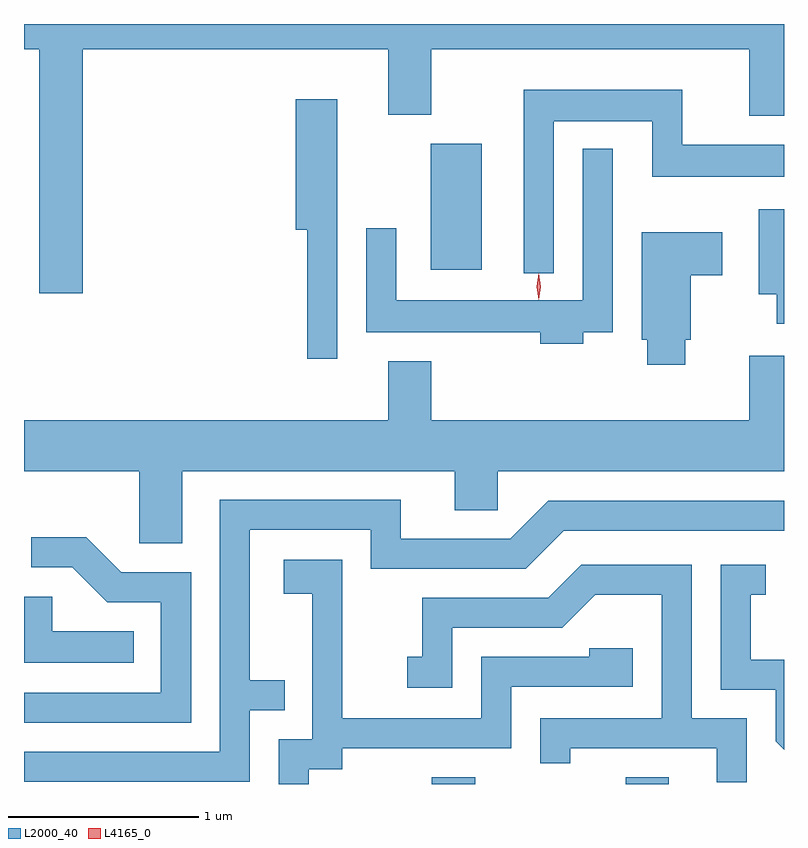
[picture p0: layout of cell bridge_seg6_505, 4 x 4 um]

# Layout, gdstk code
import gdstk
lib = gdstk.Library(unit=1e-6, precision=1e-09)
def R(c, l, rs):  # rectangles x0, y0, x1, y1
    for r in rs: c.add(gdstk.rectangle(r[:2], r[2:], *l))
def P(c, l, *ps):  # polygons
    for p in ps: c.add(gdstk.Polygon(p, *l))
L2000_40 = (2000, 40)
L4165_0 = (4165, 0)

bridge_seg6_505 = lib.new_cell('bridge_seg6_505')
R(bridge_seg6_505, L2000_40, [(529.401,1648.289,529.629,1648.324), (530.421,1648.289,530.649,1648.324), (529.396,1650.996,529.664,1651.659)])
P(bridge_seg6_505, L2000_40, [(527.564,1652.156),(529.171,1652.156),(529.171,1651.811),(529.399,1651.811),(529.399,1652.156),(531.071,1652.156),(531.071,1651.806),(531.255,1651.806),(531.255,1652.289),(527.255,1652.289),(527.255,1652.156),(527.336,1652.156),(527.336,1650.871),(527.564,1650.871)],
  [(530.044,1651.776),(530.561,1651.776),(530.561,1651.486),(531.255,1651.486),(531.255,1651.654),(530.719,1651.654),(530.719,1651.944),(529.886,1651.944),(529.886,1650.978),(530.044,1650.978)],
  [(528.904,1651.894),(528.686,1651.894),(528.686,1651.206),(528.746,1651.206),(528.746,1650.528),(528.904,1650.528)],
  [(530.199,1650.666),(530.354,1650.666),(530.354,1651.633),(530.196,1651.633),(530.196,1650.834),(529.214,1650.834),(529.214,1651.213),(529.056,1651.213),(529.056,1650.666),(529.971,1650.666),(529.971,1650.606),(530.199,1650.606)],
  [(531.255,1651.314),(531.121,1651.314),(531.121,1650.866),(531.216,1650.866),(531.216,1650.711),(531.255,1650.711)],
  [(530.734,1650.626),(530.764,1650.626),(530.764,1650.966),(530.929,1650.966),(530.929,1651.194),(530.506,1651.194),(530.506,1650.626),(530.536,1650.626),(530.536,1650.496),(530.734,1650.496)],
  [(528.089,1649.936),(529.521,1649.936),(529.521,1649.731),(529.749,1649.731),(529.749,1649.936),(531.255,1649.936),(531.255,1650.544),(531.071,1650.544),(531.071,1650.204),(529.399,1650.204),(529.399,1650.514),(529.171,1650.514),(529.171,1650.204),(527.255,1650.204),(527.255,1649.936),(527.861,1649.936),(527.861,1649.556),(528.089,1649.556)],
  [(528.444,1648.676),(528.628,1648.676),(528.628,1648.834),(528.444,1648.834),(528.444,1649.626),(529.081,1649.626),(529.081,1649.421),(529.897,1649.421),(530.097,1649.621),(531.255,1649.621),(531.255,1649.779),(530.014,1649.779),(529.814,1649.579),(529.239,1649.579),(529.239,1649.784),(528.286,1649.784),(528.286,1648.459),(527.255,1648.459),(527.255,1648.301),(528.444,1648.301)],
  [(528.134,1649.404),(527.767,1649.404),(527.582,1649.589),(527.293,1649.589),(527.293,1649.431),(527.509,1649.431),(527.694,1649.246),(527.976,1649.246),(527.976,1648.769),(527.255,1648.769),(527.255,1648.611),(528.134,1648.611)],
  [(528.754,1648.366),(528.929,1648.366),(528.929,1648.476),(529.819,1648.476),(529.819,1648.801),(530.459,1648.801),(530.459,1649.004),(530.231,1649.004),(530.231,1648.959),(529.661,1648.959),(529.661,1648.634),(528.929,1648.634),(528.929,1649.469),(528.621,1649.469),(528.621,1649.291),(528.771,1649.291),(528.771,1648.524),(528.596,1648.524),(528.596,1648.289),(528.754,1648.289)],
  [(531.255,1648.944),(531.079,1648.944),(531.079,1649.286),(531.158,1649.286),(531.158,1649.444),(530.921,1649.444),(530.921,1648.786),(531.211,1648.786),(531.211,1648.514),(531.255,1648.47)],
  [(531.059,1648.634),(530.769,1648.634),(530.769,1649.444),(530.189,1649.444),(530.014,1649.269),(529.351,1649.269),(529.351,1648.959),(529.273,1648.959),(529.273,1648.796),(529.509,1648.796),(529.509,1649.111),(530.087,1649.111),(530.262,1649.286),(530.611,1649.286),(530.611,1648.634),(529.971,1648.634),(529.971,1648.398),(530.129,1648.398),(530.129,1648.476),(530.901,1648.476),(530.901,1648.298),(531.059,1648.298)],
  [(527.833,1649.094),(527.404,1649.094),(527.404,1649.274),(527.255,1649.274),(527.255,1648.926),(527.833,1648.926)])
P(bridge_seg6_505, L4165_0, [(529.964,1650.837),(529.963,1650.838),(529.954,1650.906),(529.963,1650.976),(529.964,1650.976),(529.964,1650.976),(529.974,1650.906),(529.964,1650.838)],
  [(529.964,1650.839),(529.963,1650.84),(529.954,1650.906),(529.963,1650.972),(529.964,1650.973),(529.964,1650.972),(529.974,1650.906),(529.964,1650.84)])

lib.write_gds('bridge_seg6_505.gds')
